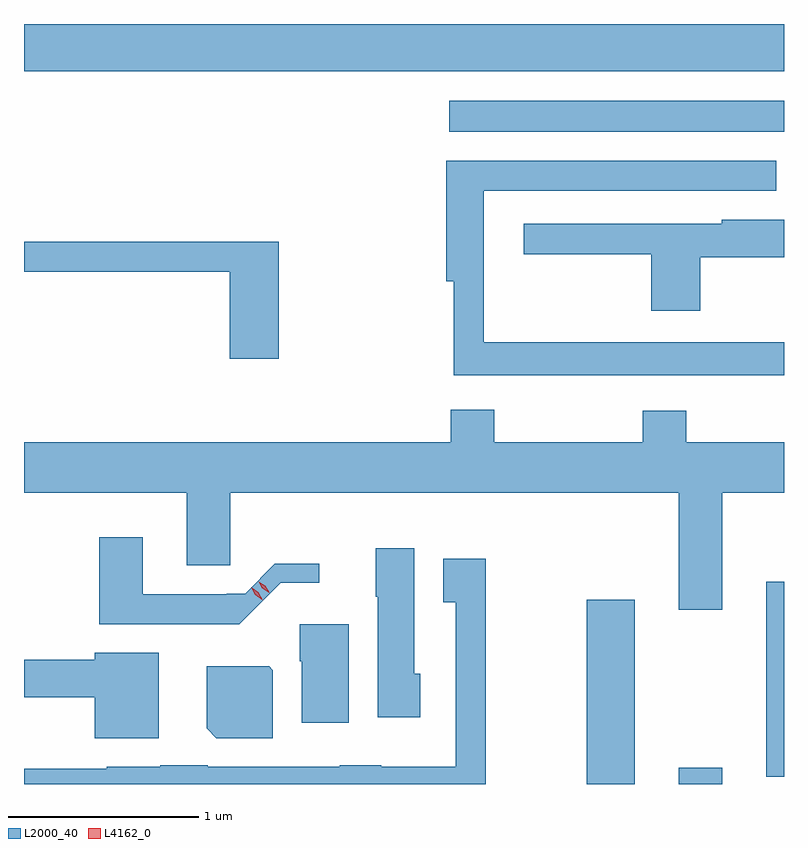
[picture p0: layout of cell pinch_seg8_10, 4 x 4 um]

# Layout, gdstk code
import gdstk
lib = gdstk.Library(unit=1e-6, precision=1e-09)
def R(c, l, rs):  # rectangles x0, y0, x1, y1
    for r in rs: c.add(gdstk.rectangle(r[:2], r[2:], *l))
def P(c, l, *ps):  # polygons
    for p in ps: c.add(gdstk.Polygon(p, *l))
L2000_40 = (2000, 40)
L4162_0 = (4162, 0)

pinch_seg8_10 = lib.new_cell('pinch_seg8_10')
R(pinch_seg8_10, L2000_40, [(1797.786,1845.984,1798.039,1846.954), (1798.271,1845.984,1798.499,1846.069), (1798.731,1846.021,1798.824,1847.049), (1797.063,1849.416,1798.824,1849.579), (1794.824,1849.736,1798.824,1849.984)])
P(pinch_seg8_10, L2000_40, [(1798.824,1848.309),(1797.244,1848.309),(1797.244,1849.106),(1798.783,1849.106),(1798.783,1849.264),(1797.046,1849.264),(1797.046,1848.631),(1797.086,1848.631),(1797.086,1848.136),(1798.824,1848.136)],
  [(1798.384,1848.756),(1798.824,1848.756),(1798.824,1848.954),(1798.496,1848.954),(1798.496,1848.934),(1797.453,1848.934),(1797.453,1848.771),(1798.126,1848.771),(1798.126,1848.476),(1798.384,1848.476)],
  [(1796.164,1848.839),(1794.824,1848.839),(1794.824,1848.681),(1795.906,1848.681),(1795.906,1848.221),(1796.164,1848.221)],
  [(1798.499,1847.516),(1798.824,1847.516),(1798.824,1847.784),(1798.309,1847.784),(1798.309,1847.949),(1798.081,1847.949),(1798.081,1847.784),(1797.299,1847.784),(1797.299,1847.954),(1797.071,1847.954),(1797.071,1847.784),(1794.824,1847.784),(1794.824,1847.516),(1795.681,1847.516),(1795.681,1847.136),(1795.909,1847.136),(1795.909,1847.516),(1798.271,1847.516),(1798.271,1846.901),(1798.499,1846.901)],
  [(1796.175,1847.043),(1796.378,1847.043),(1796.378,1847.143),(1796.144,1847.143),(1795.988,1846.986),(1795.89,1846.986),(1795.89,1846.984),(1795.449,1846.984),(1795.449,1847.284),(1795.221,1847.284),(1795.221,1846.826),(1795.958,1846.826)],
  [(1796.909,1846.564),(1796.879,1846.564),(1796.879,1847.224),(1796.676,1847.224),(1796.676,1846.97),(1796.686,1846.97),(1796.686,1846.336),(1796.909,1846.336)],
  [(1797.254,1847.169),(1797.031,1847.169),(1797.031,1846.941),(1797.096,1846.941),(1797.096,1846.074),(1796.705,1846.074),(1796.705,1846.084),(1796.485,1846.084),(1796.485,1846.074),(1795.79,1846.074),(1795.79,1846.084),(1795.54,1846.084),(1795.54,1846.074),(1795.26,1846.074),(1795.26,1846.064),(1794.824,1846.064),(1794.824,1845.984),(1797.254,1845.984)],
  [(1796.534,1846.824),(1796.276,1846.824),(1796.276,1846.63),(1796.286,1846.63),(1796.286,1846.306),(1796.534,1846.306)],
  [(1795.534,1846.674),(1795.196,1846.674),(1795.196,1846.639),(1794.824,1846.639),(1794.824,1846.441),(1795.196,1846.441),(1795.196,1846.226),(1795.534,1846.226)],
  [(1796.134,1846.584),(1796.114,1846.604),(1795.786,1846.604),(1795.786,1846.277),(1795.837,1846.226),(1796.134,1846.226)])
P(pinch_seg8_10, L4162_0, [(1796.08,1846.952),(1796.042,1846.979),(1796.019,1847.019),(1796.019,1847.02),(1796.02,1847.02),(1796.058,1846.992),(1796.081,1846.952),(1796.081,1846.952)],
  [(1796.114,1846.991),(1796.079,1847.013),(1796.059,1847.048),(1796.059,1847.049),(1796.059,1847.049),(1796.094,1847.027),(1796.115,1846.992),(1796.115,1846.991)])

lib.write_gds('pinch_seg8_10.gds')
